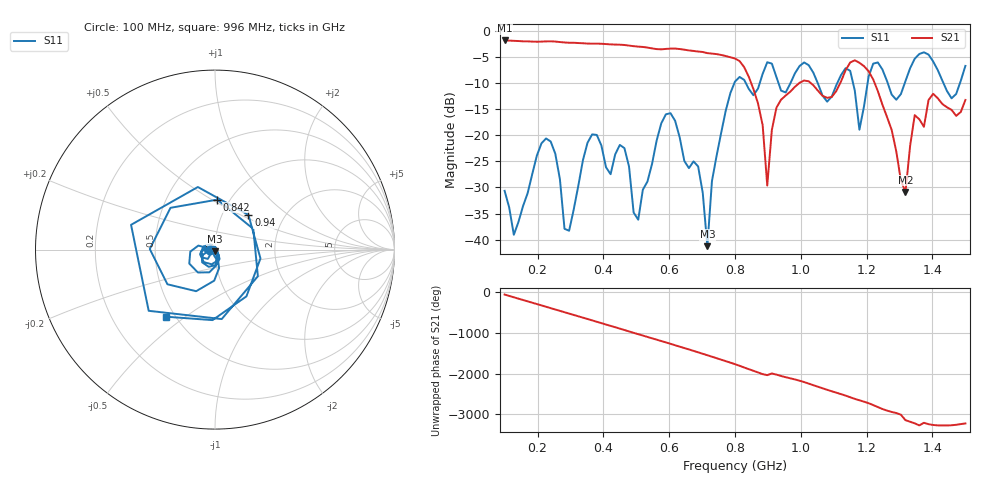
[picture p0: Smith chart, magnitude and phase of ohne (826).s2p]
! NanoVNA-App
! Date: 2025-09-25 14:27:14
! Start: 100MHz Stop: 1,5GHz Points: 101
! S-Parameter data: F S11 S21 S12 S22
# Hz S RI R 50
!  Frequency  S11_Real  S11_Imag  S21_Real  S21_Imag  S12_Real  S12_Imag  S22_Real  S22_Imag
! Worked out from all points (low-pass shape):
!   101 points, 100 MHz to 1.5 GHz, reference 50 ohm
!   highest |S21| = -1.79 dB at 100 MHz (marker M1); lowest = -30.9 dB at 1.318 GHz (marker M2)
!   |S21| within 3 dB of the highest: start of sweep to 772.6 MHz
!   lowest |S11| = -41.3 dB at 716 MHz (marker M3), VSWR 1.02, Z = 49.8 - j0.838 ohm
!   |S11| at or under -10 dB: start of sweep to 798 MHz; 833.1 MHz to 875.1 MHz (41.96 MHz wide, 4.91 % of centre); 1.052 GHz to 1.111 GHz (59 MHz wide, 5.46 % of centre) (the widest 3 of 7)
!   S12 and S22 are empty: the file has one direction only
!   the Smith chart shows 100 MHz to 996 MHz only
!   S11 on the Smith chart (normalised r, x): 100 MHz: 0.94, -0.01; 842 MHz: 0.88, +0.53; 940 MHz: 1.33, +0.55; 996 MHz: 0.45, -0.43
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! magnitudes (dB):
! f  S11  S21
! 100 MHz  -30.6  -1.8
! 128 MHz  -39.1  -1.9
! 226 MHz  -20.6  -2.0
! 296 MHz  -38.3  -2.2
! 338 MHz  -24.8  -2.3
! 464 MHz  -22.4  -2.7
! 506 MHz  -36.2  -3.0
! 576 MHz  -17.7  -3.5
! 688 MHz  -26.0  -3.9
! 716 MHz  -41.3  -4.2
! 800 MHz  -9.7  -5.2
! 842 MHz  -11.1  -8.8
! 898 MHz  -6.0  -29.6
! 940 MHz  -11.4  -13.2
! 996 MHz  -6.7  -9.9
! 1.038 GHz  -8.0  -10.4
! 1.178 GHz  -18.9  -6.1
! 1.22 GHz  -6.2  -9.3
! 1.276 GHz  -12.2  -18.9
! 1.318 GHz  -9.6  -30.9
! 1.346 GHz  -5.3  -16.1
! 1.5 GHz  -6.7  -13.2
